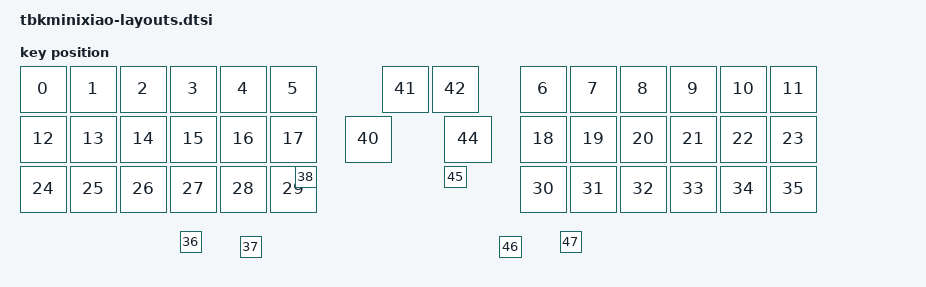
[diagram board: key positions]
#include <physical_layouts.dtsi>

/ {
    physical_layout0: physical_layout_0 {
        compatible = "zmk,physical-layout";
        display-name = "TBKMiniXIAO36" ;

        keys  //                     w   h    x    y     rot    rx    ry
            = <&key_physical_attrs 100 100  0      0       0     0     0>
            , <&key_physical_attrs 100 100  100    0       0     0     0>
            , <&key_physical_attrs 100 100  200    0       0     0     0>
            , <&key_physical_attrs 100 100  300    0       0     0     0>
            , <&key_physical_attrs 100 100  400    0       0     0     0>
            , <&key_physical_attrs 100 100  500    0       0     0     0>
            , <&key_physical_attrs 100 100  1000   0       0     0     0>
            , <&key_physical_attrs 100 100  1100   0       0     0     0>
            , <&key_physical_attrs 100 100  1200   0       0     0     0>
            , <&key_physical_attrs 100 100  1300   0       0     0     0>
            , <&key_physical_attrs 100 100  1400   0       0     0     0>
            , <&key_physical_attrs 100 100  1500   0       0     0     0>

            , <&key_physical_attrs 100 100  0      100       0     0     0>
            , <&key_physical_attrs 100 100  100    100       0     0     0>
            , <&key_physical_attrs 100 100  200    100       0     0     0>
            , <&key_physical_attrs 100 100  300    100       0     0     0>
            , <&key_physical_attrs 100 100  400    100       0     0     0>
            , <&key_physical_attrs 100 100  500    100       0     0     0>
            , <&key_physical_attrs 100 100  1000   100       0     0     0>
            , <&key_physical_attrs 100 100  1100   100       0     0     0>
            , <&key_physical_attrs 100 100  1200   100       0     0     0>
            , <&key_physical_attrs 100 100  1300   100       0     0     0>
            , <&key_physical_attrs 100 100  1400   100       0     0     0>
            , <&key_physical_attrs 100 100  1500   100       0     0     0>


            , <&key_physical_attrs 100 100    0    200       0     0     0>
            , <&key_physical_attrs 100 100  100    200       0     0     0>
            , <&key_physical_attrs 100 100  200    200       0     0     0>
            , <&key_physical_attrs 100 100  300    200       0     0     0>
            , <&key_physical_attrs 100 100  400    200       0     0     0>
            , <&key_physical_attrs 100 100  500    200       0     0     0>
            , <&key_physical_attrs 100 100  1000   200       0     0     0>
            , <&key_physical_attrs 100 100  1100   200       0     0     0>
            , <&key_physical_attrs 100 100  1200   200       0     0     0>
            , <&key_physical_attrs 100 100  1300   200       0     0     0>
            , <&key_physical_attrs 100 100  1400   200       0     0     0>
            , <&key_physical_attrs 100 100  1500   200       0     0     0>



            , <&key_physical_attrs 50 50    320    330       0         0     0>
            , <&key_physical_attrs 50 50    440    340       0         0     0>
            , <&key_physical_attrs 50 50    550    200       0         0     0>
            , <&key_physical_attrs 100 100  650    100       0         0     0>
            , <&key_physical_attrs 100 100  650    100       0         0     0>
            , <&key_physical_attrs 100 100  725      0       0         0     0>

            , <&key_physical_attrs 100 100  825      0       0         0     0>
            , <&key_physical_attrs 100 100  850    100       0         0     0>
            , <&key_physical_attrs 100 100  850    100       0         0     0>
            , <&key_physical_attrs 50 50    850    200       0         0     0>
            , <&key_physical_attrs 50 50    960    340       0         0     0>
            , <&key_physical_attrs 50 50    1080   330       0         0     0>

            ;
    };



};
